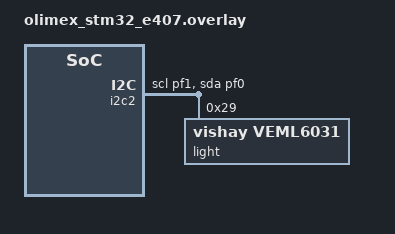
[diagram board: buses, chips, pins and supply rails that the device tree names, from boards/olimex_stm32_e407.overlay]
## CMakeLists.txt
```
# SPDX-License-Identifier: Apache-2.0

cmake_minimum_required(VERSION 3.28.0)
find_package(Zephyr REQUIRED HINTS $ENV{ZEPHYR_BASE})
project(veml6031)

target_sources(app PRIVATE src/main.c)
```

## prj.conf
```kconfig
CONFIG_PRINTK=y
CONFIG_GPIO=y
CONFIG_SHELL=y
CONFIG_I2C=y
CONFIG_I2C_STM32=y
CONFIG_SENSOR=y
CONFIG_SENSOR_SHELL=y
CONFIG_PM_DEVICE=y
```

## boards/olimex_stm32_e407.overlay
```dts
/*
 * Copyright (c) 2025 Andreas Klinger
 *
 * SPDX-License-Identifier: Apache-2.0
 */

&pinctrl {
	i2c2_sda_pf0: i2c2_sda_pf0 {
		pinmux = <0xa04>;
		bias-pull-up;
		drive-open-drain;
	};

	i2c2_scl_pf1: i2c2_scl_pf1 {
		pinmux = <0xa24>;
		bias-pull-up;
		drive-open-drain;
	};
};

&i2c2 {
	pinctrl-0 = <&i2c2_scl_pf1 &i2c2_sda_pf0>;
	pinctrl-names = "default";
	scl-gpios = <&gpiof 1 GPIO_ACTIVE_HIGH>;
	sda-gpios = <&gpiof 0 GPIO_ACTIVE_HIGH>;
	status = "okay";

	light: light@29 {
		compatible = "vishay,veml6031";
		reg = <0x29>;
	};
};
```

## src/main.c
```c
/*
 * Copyright (c) 2025 Andreas Klinger
 *
 * SPDX-License-Identifier: Apache-2.0
 */

#include <zephyr/kernel.h>

#include <zephyr/sys/printk.h>
#include <zephyr/sys/clock.h>
#include <stdio.h>

#include <zephyr/device.h>
#include <zephyr/drivers/sensor.h>
#include <zephyr/drivers/i2c.h>

#include <zephyr/drivers/sensor/veml6031.h>

static void read_with_attr(const struct device *dev, int it, int div4, int gain)
{
	int ret;
	struct sensor_value light;
	struct sensor_value als_raw;
	struct sensor_value ir_raw;
	struct sensor_value sen;

	sen.val2 = 0;

	sen.val1 = it;
	ret = sensor_attr_set(dev, SENSOR_CHAN_LIGHT, SENSOR_ATTR_VEML6031_IT, &sen);
	if (ret) {
		printf("Failed to set it attribute ret: %d\n", ret);
	}
	sen.val1 = div4;
	ret = sensor_attr_set(dev, SENSOR_CHAN_LIGHT, SENSOR_ATTR_VEML6031_DIV4, &sen);
	if (ret) {
		printf("Failed to set div4 attribute ret: %d\n", ret);
	}
	sen.val1 = gain;
	ret = sensor_attr_set(dev, SENSOR_CHAN_LIGHT, SENSOR_ATTR_VEML6031_GAIN, &sen);
	if (ret) {
		printf("Failed to set gain attribute ret: %d\n", ret);
	}

	ret = sensor_sample_fetch(dev);
	if ((ret < 0) && (ret != -E2BIG)) {
		printf("sample update error. ret: %d\n", ret);
	}

	sensor_channel_get(dev, SENSOR_CHAN_LIGHT, &light);

	sensor_channel_get(dev, SENSOR_CHAN_VEML6031_ALS_RAW_COUNTS, &als_raw);

	sensor_channel_get(dev, SENSOR_CHAN_VEML6031_IR_RAW_COUNTS, &ir_raw);

	printf("Light (lux): %6d ALS (raw): %6d IR (raw): %6d "
	       "  it: %d div4: %d gain: %d  --  %s\n",
	       light.val1, als_raw.val1, ir_raw.val1, it, div4, gain,
	       ret == -E2BIG ? "OVERFLOW"
	       : ret         ? "ERROR"
			     : "");
}

static void read_with_all_attr(const struct device *dev)
{
	int it, div4, gain;

	for (it = VEML60XX_IT_3_125; it <= VEML60XX_IT_400; it++) {
		for (div4 = VEML6031_SIZE_4_4; div4 <= VEML6031_SIZE_1_4; div4++) {
			for (gain = VEML60XX_GAIN_1; gain <= VEML60XX_GAIN_0_5; gain++) {
				read_with_attr(dev, it, div4, gain);
			}
		}
	}
}

int main(void)
{
	const struct device *const veml = DEVICE_DT_GET(DT_NODELABEL(light));

	if (!device_is_ready(veml)) {
		printk("sensor: device not ready.\n");
		return 0;
	}

	printf("Test all attributes for a good guess of attribute usage away of saturation.\n");
	read_with_all_attr(veml);
	printf("Test finished.\n");

	return 0;
}
```
